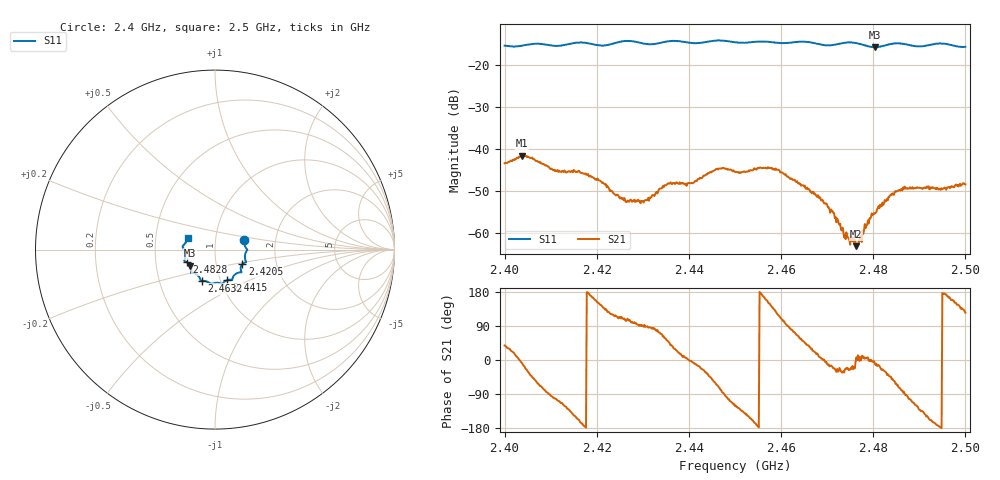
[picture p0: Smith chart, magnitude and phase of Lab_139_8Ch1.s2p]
# Hz S RI R 50
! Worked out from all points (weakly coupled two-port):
!   601 points, 2.4 GHz to 2.5 GHz, reference 50 ohm
!   highest |S21| = -41.57 dB at 2.4038 GHz (marker M1); lowest = -63.2 dB at 2.4763 GHz (marker M2)
!   lowest |S11| = -15.7 dB at 2.4803 GHz (marker M3), VSWR 1.39, Z = 37.4 - j6.83 ohm
!   |S11| at or under -10 dB: start of sweep to end of sweep
!   S12 and S22 are empty: the file has one direction only
!   S11 on the Smith chart (normalised r, x): 2.4 GHz: 1.38, +0.15; 2.4205 GHz: 1.34, -0.23; 2.4415 GHz: 1.07, -0.38; 2.4632 GHz: 0.82, -0.29; 2.4828 GHz: 0.72, -0.10; 2.5 GHz: 0.73, +0.10
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2.4e9  0.1632 0.0516  0.00532 0.00417  0 0  0 0
2.403833e9  0.1708 0.0114  0.00824 -0.00137  0 0  0 0
2.410833e9  0.1687 -0.024  -0.00102 -0.00538  0 0  0 0
2.416667e9  0.1731 -0.0697  -0.00504 -0.00118  0 0  0 0
2.4205e9  0.1517 -0.0817  -0.00361 0.00217  0 0  0 0
2.426667e9  0.1481 -0.1265  -0.000788 0.00229  0 0  0 0
2.4305e9  0.1229 -0.1311  0.000125 0.00245  0 0  0 0
2.433333e9  0.1005 -0.1517  0.000875 0.00301  0 0  0 0
2.4415e9  0.0654 -0.1705  0.00411 -0.000806  0 0  0 0
2.446333e9  0.0412 -0.1928  0.00206 -0.0053  0 0  0 0
2.45e9  0.0242 -0.1861  -0.00277 -0.00455  0 0  0 0
2.4575e9  -0.0285 -0.1872  -0.00508 0.00305  0 0  0 0
2.463167e9  -0.0731 -0.174  0.00145 0.00381  0 0  0 0
2.466667e9  -0.0817 -0.1671  0.00257 0.00149  0 0  0 0
2.471333e9  -0.1124 -0.1333  0.0016 -0.000647  0 0  0 0
2.4745e9  -0.1334 -0.1305  0.000813 -0.000334  0 0  0 0
2.476333e9  -0.1327 -0.1265  0.000688 8.03e-05  0 0  0 0
2.480333e9  -0.1377 -0.0889  0.00168 -0.000249  0 0  0 0
2.482833e9  -0.1587 -0.0703  0.002 -0.00133  0 0  0 0
2.483333e9  -0.1626 -0.0685  0.00207 -0.00173  0 0  0 0
2.487e9  -0.1687 -0.0555  -0.000177 -0.00336  0 0  0 0
2.5e9  -0.1525 0.0646  -0.00216 0.0031  0 0  0 0
